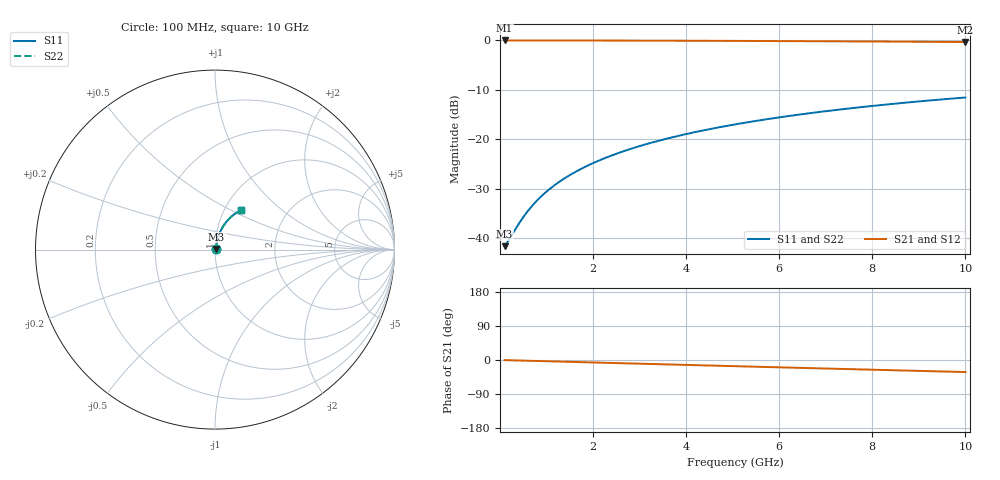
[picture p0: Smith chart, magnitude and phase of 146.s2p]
# Hz S RI R 50.00
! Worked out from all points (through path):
!   100 points, 100 MHz to 10 GHz, reference 50 ohm
!   highest |S21| = -0.07 dB at 100 MHz (marker M1); lowest = -0.4 dB at 10 GHz (marker M2)
!   group delay of S21, straight-line fit = 8.84 ps
!   lowest |S11| = -41.7 dB at 100 MHz (marker M3), VSWR 1.02, Z = 50.8 + j0.283 ohm
!   |S11| at or under -10 dB: start of sweep to end of sweep
!   |S22| runs from -41.7 to -11.6 dB; largest |S21 - S12| = 0
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1e8  0.00778 0.00279  0.9922 -0.00563  0.9922 -0.00563  0.00778 0.00279
2e8  0.00787 0.00558  0.9921 -0.0113  0.9921 -0.0113  0.00787 0.00558
4e8  0.00813 0.0112  0.9918 -0.0225  0.9918 -0.0225  0.00813 0.0112
5e8  0.0083 0.0139  0.9916 -0.0281  0.9916 -0.0281  0.0083 0.0139
6e8  0.00849 0.0167  0.9913 -0.0337  0.9913 -0.0337  0.00849 0.0167
7e8  0.00872 0.0195  0.9911 -0.0394  0.9911 -0.0394  0.00872 0.0195
8e8  0.00897 0.0223  0.9907 -0.045  0.9907 -0.045  0.00897 0.0223
1e9  0.00958 0.0278  0.99 -0.0562  0.99 -0.0562  0.00958 0.0278
1.2e9  0.0103 0.0333  0.9891 -0.0674  0.9891 -0.0674  0.0103 0.0333
1.5e9  0.0116 0.0416  0.9874 -0.0841  0.9874 -0.0841  0.0116 0.0416
1.8e9  0.0132 0.0498  0.9854 -0.1008  0.9854 -0.1008  0.0132 0.0498
2.1e9  0.0151 0.0579  0.9831 -0.1175  0.9831 -0.1175  0.0151 0.0579
2.5e9  0.018 0.0686  0.9794 -0.1396  0.9794 -0.1396  0.018 0.0686
2.9e9  0.0213 0.0792  0.9752 -0.1615  0.9752 -0.1615  0.0213 0.0792
3.4e9  0.0262 0.0922  0.969 -0.1886  0.969 -0.1886  0.0262 0.0922
4.2e9  0.0355 0.1122  0.9573 -0.2314  0.9573 -0.2314  0.0355 0.1122
5.1e9  0.0479 0.1335  0.9414 -0.2783  0.9414 -0.2783  0.0479 0.1335
5.9e9  0.0607 0.1512  0.925 -0.3187  0.925 -0.3187  0.0607 0.1512
6.7e9  0.0748 0.1676  0.9067 -0.3579  0.9067 -0.3579  0.0748 0.1676
7.5e9  0.0903 0.1826  0.8865 -0.3957  0.8865 -0.3957  0.0903 0.1826
8.4e9  0.109 0.1977  0.8618 -0.4364  0.8618 -0.4364  0.109 0.1977
1e10  0.1451 0.2194  0.8133 -0.5037  0.8133 -0.5037  0.1451 0.2194
